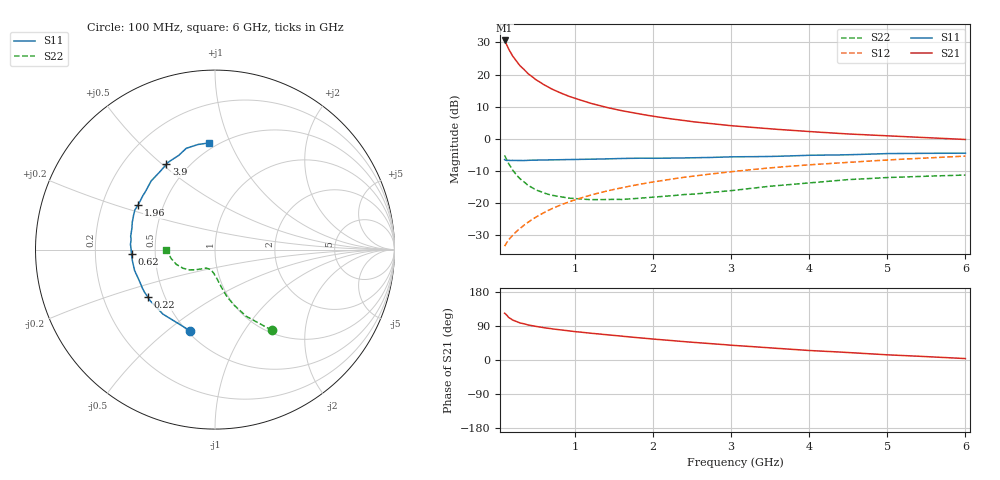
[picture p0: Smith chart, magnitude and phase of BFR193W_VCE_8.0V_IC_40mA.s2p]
! Infineon Technologies  Discrete & RF Semiconductors
! BFR193W
! VCE =  8.0 V,  IC =  40 mA
! Common Emitter S-Parameters:  Nov 2015
# GHz  S  MA  R  50
!  f  S11  S21  S12  S22
! GHz  MAG  ANG  MAG  ANG  MAG  ANG  MAG  ANG
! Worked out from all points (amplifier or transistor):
!   192 points, 100 MHz to 6 GHz, reference 50 ohm
!   highest |S21| = 30.6 dB at 100 MHz (marker M1)
!   |S21| within 3 dB of that: start of sweep to 159.4 MHz
!   unconditionally stable (mu >= 1): 638 MHz to 2.647 GHz
!   at 440 MHz: K = 0.95, MSG = 22.5 dB, |S12| = -25.4 dB
!   at 1.7 GHz: K = 1.02, MAG = 10.6 dB, |S12| = -14.8 dB
!   at 6 GHz: K = 0.92, MSG = 2.6 dB, |S12| = -5.4 dB
!   S11 on the Smith chart (normalised r, x): 100 MHz: 0.52, -0.60; 220 MHz: 0.40, -0.27; 620 MHz: 0.36, -0.02; 1.96 GHz: 0.36, +0.23; 3.9 GHz: 0.38, +0.52; 6 GHz: 0.46, +0.84
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0.1  0.4724 -107.4  33.94 123.5  0.0212 59.3  0.5499 -54.8
0.15  0.4619 -128.9  25.07 112.6  0.0264 59.5  0.4114 -64.8
0.2  0.4599 -141.6  19.65 105.7  0.031 61.1  0.3286 -70.9
0.22  0.4585 -145.0  18.2 104.1  0.0329 61.9  0.3057 -72.6
0.24  0.4587 -148.5  16.77 102.3  0.0348 62.6  0.2832 -74.5
0.26  0.4582 -151.5  15.57 100.6  0.0367 63.3  0.2649 -76.1
0.3  0.4556 -156.5  13.59 97.6  0.0403 64.8  0.2365 -78.3
0.4  0.4629 -165.4  10.32 92.5  0.05 67.4  0.1877 -82.9
0.5  0.4645 -171.3  8.323 88.6  0.0599 69.0  0.1598 -86.5
0.62  0.4659 -176.8  6.775 84.8  0.0723 70.1  0.1409 -90.8
0.7  0.4668 -179.8  5.982 82.4  0.0807 70.5  0.1321 -92.8
0.8  0.472 176.4  5.267 79.7  0.091 70.7  0.1258 -95.9
0.9  0.4705 173.4  4.687 77.2  0.1014 70.7  0.1193 -98.1
1.1  0.4764 168.3  3.908 73.0  0.1218 70.2  0.1145 -103.2
1.46  0.487 160.3  2.972 65.5  0.1581 68.5  0.1135 -111.9
1.96  0.4959 150.1  2.282 56.0  0.208 65.2  0.1218 -120.8
2.08  0.4966 147.9  2.168 53.9  0.2197 64.3  0.1249 -122.3
3.1  0.5231 131.6  1.56 37.7  0.3154 56.0  0.1604 -135.5
3.9  0.5466 119.7  1.318 26.5  0.3842 49.1  0.2005 -148.1
4.1  0.5536 116.7  1.271 24.1  0.3996 47.4  0.2101 -151.6
5.1  0.5874 104.4  1.095 12.8  0.4734 39.3  0.2507 -169.7
6  0.5952 93.1  0.973 3.8  0.5358 31.8  0.2718 -179.8
